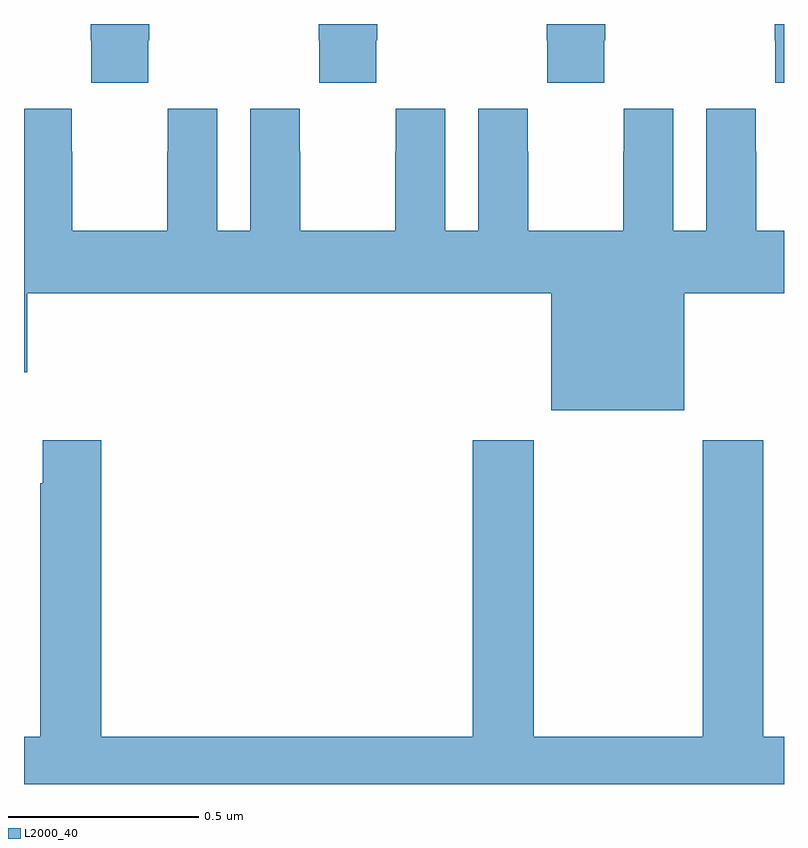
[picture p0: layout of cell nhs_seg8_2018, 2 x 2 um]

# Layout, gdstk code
import gdstk
lib = gdstk.Library(unit=1e-6, precision=1e-09)
def P(c, l, *ps):  # polygons
    for p in ps: c.add(gdstk.Polygon(p, *l))
L2000_40 = (2000, 40)

nhs_seg8_2018 = lib.new_cell('nhs_seg8_2018')
P(nhs_seg8_2018, L2000_40, [(138.327,1091.857),(138.33,1091.857),(138.33,1091.9),(138.175,1091.9),(138.175,1091.857),(138.177,1091.857),(138.177,1091.745),(138.327,1091.745)],
  [(138.927,1091.857),(138.93,1091.857),(138.93,1091.9),(138.775,1091.9),(138.775,1091.857),(138.777,1091.857),(138.777,1091.745),(138.927,1091.745)],
  [(139.527,1091.857),(139.53,1091.857),(139.53,1091.9),(139.375,1091.9),(139.375,1091.857),(139.377,1091.857),(139.377,1091.745),(139.527,1091.745)],
  [(140,1091.9),(139.975,1091.9),(139.975,1091.857),(139.977,1091.857),(139.977,1091.745),(140,1091.745)],
  [(140,1091.356),(139.927,1091.356),(139.927,1091.564),(139.926,1091.564),(139.926,1091.677),(139.796,1091.677),(139.796,1091.356),(139.708,1091.356),(139.708,1091.677),(139.578,1091.677),(139.578,1091.564),(139.577,1091.564),(139.577,1091.356),(139.327,1091.356),(139.327,1091.564),(139.326,1091.564),(139.326,1091.677),(139.196,1091.677),(139.196,1091.356),(139.108,1091.356),(139.108,1091.677),(138.978,1091.677),(138.978,1091.564),(138.977,1091.564),(138.977,1091.356),(138.727,1091.356),(138.727,1091.564),(138.726,1091.564),(138.726,1091.677),(138.596,1091.677),(138.596,1091.356),(138.508,1091.356),(138.508,1091.677),(138.378,1091.677),(138.378,1091.564),(138.377,1091.564),(138.377,1091.356),(138.127,1091.356),(138.127,1091.564),(138.126,1091.564),(138.126,1091.677),(138,1091.677),(138,1090.984),(138.008,1090.984),(138.008,1091.192),(139.388,1091.192),(139.388,1090.883),(139.738,1090.883),(139.738,1091.192),(140,1091.192)],
  [(140,1090.024),(139.946,1090.024),(139.946,1090.804),(139.786,1090.804),(139.786,1090.024),(139.341,1090.024),(139.341,1090.804),(139.181,1090.804),(139.181,1090.024),(138.203,1090.024),(138.203,1090.804),(138.049,1090.804),(138.049,1090.691),(138.043,1090.691),(138.043,1090.024),(138,1090.024),(138,1089.9),(140,1089.9)])

lib.write_gds('nhs_seg8_2018.gds')
